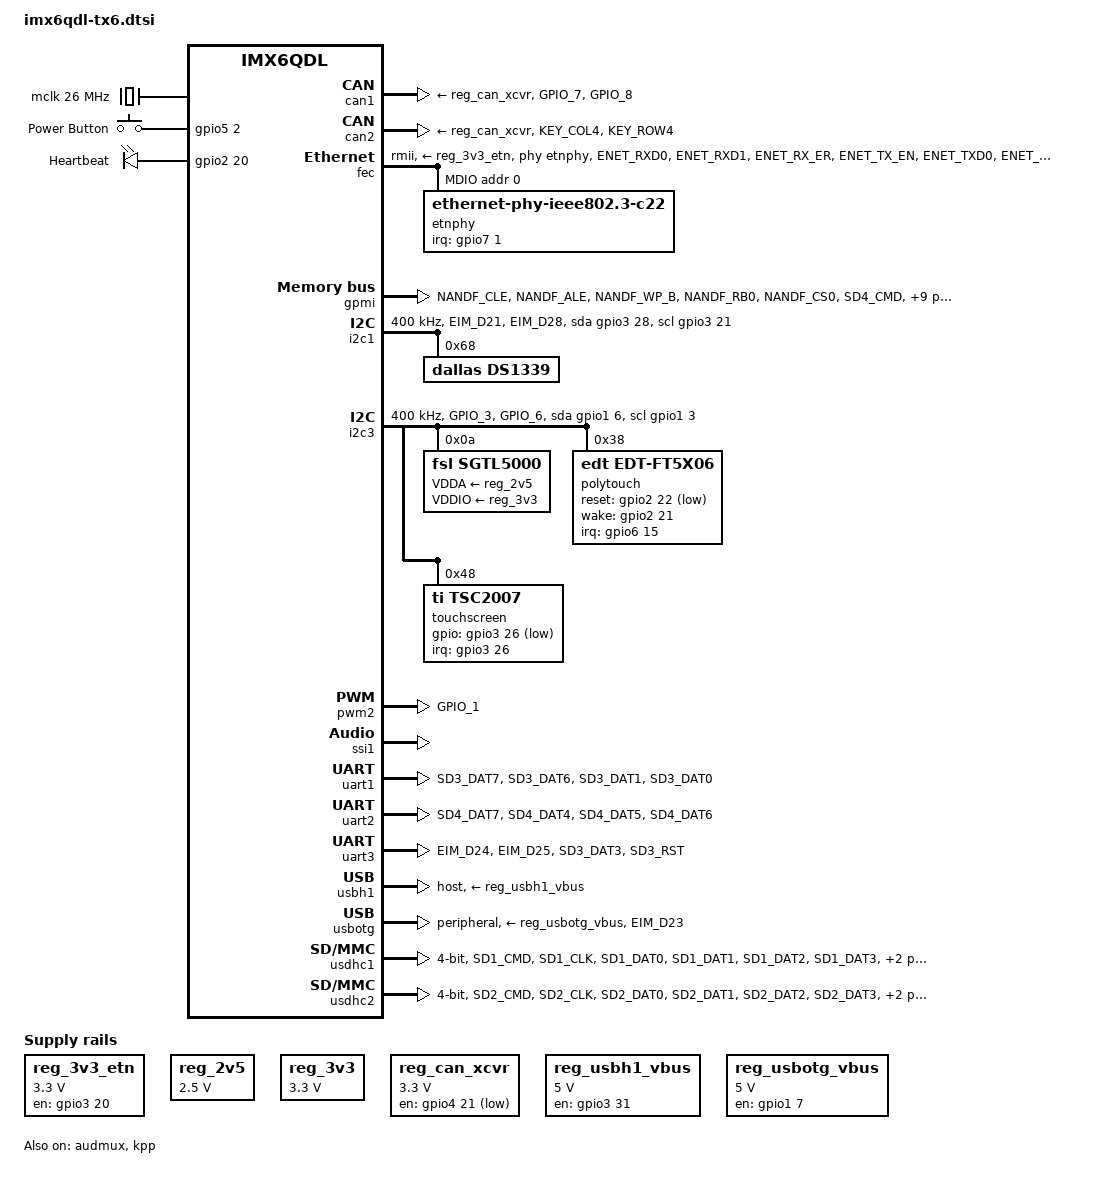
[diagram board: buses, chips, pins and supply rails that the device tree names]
/*
 * Copyright 2014-2017 Lothar Waßmann <LW@KARO-electronics.de>
 *
 * This file is dual-licensed: you can use it either under the terms
 * of the GPL or the X11 license, at your option. Note that this dual
 * licensing only applies to this file, and not this project as a
 * whole.
 *
 *  a) This file is free software; you can redistribute it and/or
 *     modify it under the terms of the GNU General Public License
 *     version 2 as published by the Free Software Foundation.
 *
 *     This file is distributed in the hope that it will be useful,
 *     but WITHOUT ANY WARRANTY; without even the implied warranty of
 *     MERCHANTABILITY or FITNESS FOR A PARTICULAR PURPOSE.  See the
 *     GNU General Public License for more details.
 *
 * Or, alternatively,
 *
 *  b) Permission is hereby granted, free of charge, to any person
 *     obtaining a copy of this software and associated documentation
 *     files (the "Software"), to deal in the Software without
 *     restriction, including without limitation the rights to use,
 *     copy, modify, merge, publish, distribute, sublicense, and/or
 *     sell copies of the Software, and to permit persons to whom the
 *     Software is furnished to do so, subject to the following
 *     conditions:
 *
 *     The above copyright notice and this permission notice shall be
 *     included in all copies or substantial portions of the Software.
 *
 *     THE SOFTWARE IS PROVIDED "AS IS", WITHOUT WARRANTY OF ANY KIND,
 *     EXPRESS OR IMPLIED, INCLUDING BUT NOT LIMITED TO THE WARRANTIES
 *     OF MERCHANTABILITY, FITNESS FOR A PARTICULAR PURPOSE AND
 *     NONINFRINGEMENT. IN NO EVENT SHALL THE AUTHORS OR COPYRIGHT
 *     HOLDERS BE LIABLE FOR ANY CLAIM, DAMAGES OR OTHER LIABILITY,
 *     WHETHER IN AN ACTION OF CONTRACT, TORT OR OTHERWISE, ARISING
 *     FROM, OUT OF OR IN CONNECTION WITH THE SOFTWARE OR THE USE OR
 *     OTHER DEALINGS IN THE SOFTWARE.
 */

#include <dt-bindings/gpio/gpio.h>
#include <dt-bindings/input/input.h>
#include <dt-bindings/interrupt-controller/irq.h>
#include <dt-bindings/pwm/pwm.h>
#include <dt-bindings/sound/fsl-imx-audmux.h>

/ {
	aliases {
		can0 = &can2;
		can1 = &can1;
		ethernet0 = &fec;
		lcdif-23bit-pins-a = &pinctrl_disp0_1;
		lcdif-24bit-pins-a = &pinctrl_disp0_2;
		pwm0 = &pwm1;
		pwm1 = &pwm2;
		reg-can-xcvr = &reg_can_xcvr;
		stk5led = &user_led;
		usbotg = &usbotg;
		sdhc0 = &usdhc1;
		sdhc1 = &usdhc2;
	};

	memory@10000000 {
		device_type = "memory";
		reg = <0x10000000 0>; /* will be filled by U-Boot */
	};

	clocks {
		#address-cells = <1>;
		#size-cells = <0>;

		mclk: clock@0 {
			compatible = "fixed-clock";
			reg = <0>;
			#clock-cells = <0>;
			clock-frequency = <26000000>;
		};
	};

	gpio-keys {
		compatible = "gpio-keys";

		power {
			label = "Power Button";
			gpios = <&gpio5 2 GPIO_ACTIVE_HIGH>;
			linux,code = <KEY_POWER>;
			wakeup-source;
		};
	};

	leds {
		compatible = "gpio-leds";

		user_led: user {
			label = "Heartbeat";
			pinctrl-names = "default";
			pinctrl-0 = <&pinctrl_user_led>;
			gpios = <&gpio2 20 GPIO_ACTIVE_HIGH>;
			linux,default-trigger = "heartbeat";
		};
	};

	reg_3v3_etn: regulator-3v3-etn {
		compatible = "regulator-fixed";
		regulator-name = "3V3_ETN";
		regulator-min-microvolt = <3300000>;
		regulator-max-microvolt = <3300000>;
		pinctrl-names = "default";
		pinctrl-0 = <&pinctrl_etnphy_power>;
		gpio = <&gpio3 20 GPIO_ACTIVE_HIGH>;
		enable-active-high;
	};

	reg_2v5: regulator-2v5 {
		compatible = "regulator-fixed";
		regulator-name = "2V5";
		regulator-min-microvolt = <2500000>;
		regulator-max-microvolt = <2500000>;
		regulator-always-on;
	};

	reg_3v3: regulator-3v3 {
		compatible = "regulator-fixed";
		regulator-name = "3V3";
		regulator-min-microvolt = <3300000>;
		regulator-max-microvolt = <3300000>;
		regulator-always-on;
	};

	reg_can_xcvr: regulator-can-xcvr {
		compatible = "regulator-fixed";
		regulator-name = "CAN XCVR";
		regulator-min-microvolt = <3300000>;
		regulator-max-microvolt = <3300000>;
		pinctrl-names = "default";
		pinctrl-0 = <&pinctrl_flexcan_xcvr>;
		gpio = <&gpio4 21 GPIO_ACTIVE_LOW>;
	};

	reg_lcd0_pwr: regulator-lcd0-pwr {
		compatible = "regulator-fixed";
		regulator-name = "LCD0 POWER";
		regulator-min-microvolt = <3300000>;
		regulator-max-microvolt = <3300000>;
		pinctrl-names = "default";
		pinctrl-0 = <&pinctrl_lcd0_pwr>;
		gpio = <&gpio3 29 GPIO_ACTIVE_HIGH>;
		enable-active-high;
		status = "disabled";
	};

	reg_lcd1_pwr: regulator-lcd1-pwr {
		compatible = "regulator-fixed";
		regulator-name = "LCD1 POWER";
		regulator-min-microvolt = <3300000>;
		regulator-max-microvolt = <3300000>;
		pinctrl-names = "default";
		pinctrl-0 = <&pinctrl_lcd1_pwr>;
		gpio = <&gpio2 31 GPIO_ACTIVE_HIGH>;
		enable-active-high;
		status = "disabled";
	};

	reg_usbh1_vbus: regulator-usbh1-vbus {
		compatible = "regulator-fixed";
		regulator-name = "usbh1_vbus";
		regulator-min-microvolt = <5000000>;
		regulator-max-microvolt = <5000000>;
		pinctrl-names = "default";
		pinctrl-0 = <&pinctrl_usbh1_vbus>;
		gpio = <&gpio3 31 GPIO_ACTIVE_HIGH>;
		enable-active-high;
	};

	reg_usbotg_vbus: regulator-usbotg-vbus {
		compatible = "regulator-fixed";
		regulator-name = "usbotg_vbus";
		regulator-min-microvolt = <5000000>;
		regulator-max-microvolt = <5000000>;
		pinctrl-names = "default";
		pinctrl-0 = <&pinctrl_usbotg_vbus>;
		gpio = <&gpio1 7 GPIO_ACTIVE_HIGH>;
		enable-active-high;
	};

	sound {
		compatible = "karo,imx6qdl-tx6-sgtl5000",
			     "simple-audio-card";
		simple-audio-card,name = "imx6qdl-tx6-sgtl5000-audio";
		pinctrl-names = "default";
		pinctrl-0 = <&pinctrl_audmux>;
		simple-audio-card,format = "i2s";
		simple-audio-card,bitclock-master = <&codec_dai>;
		simple-audio-card,frame-master = <&codec_dai>;
		simple-audio-card,widgets =
			"Microphone", "Mic Jack",
			"Line", "Line In",
			"Line", "Line Out",
			"Headphone", "Headphone Jack";
		simple-audio-card,routing =
			"MIC_IN", "Mic Jack",
			"Mic Jack", "Mic Bias",
			"Headphone Jack", "HP_OUT";

		cpu_dai: simple-audio-card,cpu {
			sound-dai = <&ssi1>;
		};

		codec_dai: simple-audio-card,codec {
			sound-dai = <&sgtl5000>;
		};
	};
};

&audmux {
	status = "okay";

	ssi1 {
		fsl,audmux-port = <0>;
		fsl,port-config = <
			(IMX_AUDMUX_V2_PTCR_SYN |
			IMX_AUDMUX_V2_PTCR_TFSEL(4) |
			IMX_AUDMUX_V2_PTCR_TCSEL(4) |
			IMX_AUDMUX_V2_PTCR_TFSDIR |
			IMX_AUDMUX_V2_PTCR_TCLKDIR)
			IMX_AUDMUX_V2_PDCR_RXDSEL(4)
		>;
	};

	pins5 {
		fsl,audmux-port = <4>;
		fsl,port-config = <
			IMX_AUDMUX_V2_PTCR_SYN
			IMX_AUDMUX_V2_PDCR_RXDSEL(0)
		>;
	};
};

&can1 {
	pinctrl-names = "default";
	pinctrl-0 = <&pinctrl_flexcan1>;
	xceiver-supply = <&reg_can_xcvr>;
	status = "okay";
};

&can2 {
	pinctrl-names = "default";
	pinctrl-0 = <&pinctrl_flexcan2>;
	xceiver-supply = <&reg_can_xcvr>;
	status = "okay";
};

&ecspi1 {
	pinctrl-names = "default";
	pinctrl-0 = <&pinctrl_ecspi1>;
	cs-gpios = <
		&gpio2 30 GPIO_ACTIVE_HIGH
		&gpio3 19 GPIO_ACTIVE_HIGH
	>;
	status = "disabled";

	spidev0: spi@0 {
		compatible = "spidev";
		reg = <0>;
		spi-max-frequency = <54000000>;
	};

	spidev1: spi@1 {
		compatible = "spidev";
		reg = <1>;
		spi-max-frequency = <54000000>;
	};
};

&fec {
	pinctrl-names = "default";
	pinctrl-0 = <&pinctrl_enet &pinctrl_enet_mdio &pinctrl_etnphy_rst>;
	clocks = <&clks IMX6QDL_CLK_ENET>,
		 <&clks IMX6QDL_CLK_ENET>,
		 <&clks IMX6QDL_CLK_ENET_REF>,
		 <&clks IMX6QDL_CLK_ENET_REF>;
	clock-names = "ipg", "ahb", "ptp", "enet_out";
	phy-mode = "rmii";
	phy-reset-gpios = <&gpio7 6 GPIO_ACTIVE_LOW>;
	phy-reset-post-delay = <10>;
	phy-handle = <&etnphy>;
	phy-supply = <&reg_3v3_etn>;
	status = "okay";

	mdio {
		#address-cells = <1>;
		#size-cells = <0>;

		etnphy: ethernet-phy@0 {
			compatible = "ethernet-phy-ieee802.3-c22";
			reg = <0>;
			pinctrl-names = "default";
			pinctrl-0 = <&pinctrl_etnphy_int>;
			interrupt-parent = <&gpio7>;
			interrupts = <1 IRQ_TYPE_EDGE_FALLING>;
		};
	};
};

&gpmi {
	pinctrl-names = "default";
	pinctrl-0 = <&pinctrl_gpmi_nand>;
	nand-on-flash-bbt;
	fsl,no-blockmark-swap;
	status = "okay";
};

&i2c1 {
	pinctrl-names = "default", "gpio";
	pinctrl-0 = <&pinctrl_i2c1>;
	pinctrl-1 = <&pinctrl_i2c1_gpio>;
	scl-gpios = <&gpio3 21 GPIO_ACTIVE_HIGH>;
	sda-gpios = <&gpio3 28 GPIO_ACTIVE_HIGH>;
	clock-frequency = <400000>;
	status = "okay";

	ds1339: rtc@68 {
		compatible = "dallas,ds1339";
		reg = <0x68>;
		trickle-resistor-ohms = <250>;
		trickle-diode-disable;
	};
};

&i2c3 {
	pinctrl-names = "default", "gpio";
	pinctrl-0 = <&pinctrl_i2c3>;
	pinctrl-1 = <&pinctrl_i2c3_gpio>;
	scl-gpios = <&gpio1 3 GPIO_ACTIVE_HIGH>;
	sda-gpios = <&gpio1 6 GPIO_ACTIVE_HIGH>;
	clock-frequency = <400000>;
	status = "okay";

	sgtl5000: sgtl5000@a {
		compatible = "fsl,sgtl5000";
		#sound-dai-cells = <0>;
		reg = <0x0a>;
		VDDA-supply = <&reg_2v5>;
		VDDIO-supply = <&reg_3v3>;
		clocks = <&mclk>;
	};

	polytouch: edt-ft5x06@38 {
		compatible = "edt,edt-ft5x06";
		reg = <0x38>;
		pinctrl-names = "default";
		pinctrl-0 = <&pinctrl_edt_ft5x06>;
		interrupt-parent = <&gpio6>;
		interrupts = <15 IRQ_TYPE_EDGE_FALLING>;
		reset-gpios = <&gpio2 22 GPIO_ACTIVE_LOW>;
		wake-gpios = <&gpio2 21 GPIO_ACTIVE_HIGH>;
		wakeup-source;
	};

	touchscreen: tsc2007@48 {
		compatible = "ti,tsc2007";
		reg = <0x48>;
		pinctrl-names = "default";
		pinctrl-0 = <&pinctrl_tsc2007>;
		interrupt-parent = <&gpio3>;
		interrupts = <26 0>;
		gpios = <&gpio3 26 GPIO_ACTIVE_LOW>;
		ti,x-plate-ohms = <660>;
		wakeup-source;
	};
};

&iomuxc {
	pinctrl-names = "default";
	pinctrl-0 = <&pinctrl_hog>;

	pinctrl_hog: hoggrp {
		fsl,pins = <
			MX6QDL_PAD_EIM_A25__GPIO5_IO02		0x1b0b1 /* PWR BTN */
		>;
	};

	pinctrl_audmux: audmuxgrp {
		fsl,pins = <
			MX6QDL_PAD_KEY_ROW1__AUD5_RXD		0x130b0 /* SSI1_RXD */
			MX6QDL_PAD_KEY_ROW0__AUD5_TXD		0x110b0 /* SSI1_TXD */
			MX6QDL_PAD_KEY_COL0__AUD5_TXC		0x130b0 /* SSI1_CLK */
			MX6QDL_PAD_KEY_COL1__AUD5_TXFS		0x130b0 /* SSI1_FS */
		>;
	};

	pinctrl_disp0_1: disp0grp-1 {
		fsl,pins = <
			MX6QDL_PAD_DI0_DISP_CLK__IPU1_DI0_DISP_CLK 0x10
			MX6QDL_PAD_DI0_PIN15__IPU1_DI0_PIN15       0x10
			MX6QDL_PAD_DI0_PIN2__IPU1_DI0_PIN02        0x10
			MX6QDL_PAD_DI0_PIN3__IPU1_DI0_PIN03        0x10
			/* PAD DISP0_DAT0 is used for the Flexcan transceiver control */
			MX6QDL_PAD_DISP0_DAT1__IPU1_DISP0_DATA01   0x10
			MX6QDL_PAD_DISP0_DAT2__IPU1_DISP0_DATA02   0x10
			MX6QDL_PAD_DISP0_DAT3__IPU1_DISP0_DATA03   0x10
			MX6QDL_PAD_DISP0_DAT4__IPU1_DISP0_DATA04   0x10
			MX6QDL_PAD_DISP0_DAT5__IPU1_DISP0_DATA05   0x10
			MX6QDL_PAD_DISP0_DAT6__IPU1_DISP0_DATA06   0x10
			MX6QDL_PAD_DISP0_DAT7__IPU1_DISP0_DATA07   0x10
			MX6QDL_PAD_DISP0_DAT8__IPU1_DISP0_DATA08   0x10
			MX6QDL_PAD_DISP0_DAT9__IPU1_DISP0_DATA09   0x10
			MX6QDL_PAD_DISP0_DAT10__IPU1_DISP0_DATA10  0x10
			MX6QDL_PAD_DISP0_DAT11__IPU1_DISP0_DATA11  0x10
			MX6QDL_PAD_DISP0_DAT12__IPU1_DISP0_DATA12  0x10
			MX6QDL_PAD_DISP0_DAT13__IPU1_DISP0_DATA13  0x10
			MX6QDL_PAD_DISP0_DAT14__IPU1_DISP0_DATA14  0x10
			MX6QDL_PAD_DISP0_DAT15__IPU1_DISP0_DATA15  0x10
			MX6QDL_PAD_DISP0_DAT16__IPU1_DISP0_DATA16  0x10
			MX6QDL_PAD_DISP0_DAT17__IPU1_DISP0_DATA17  0x10
			MX6QDL_PAD_DISP0_DAT18__IPU1_DISP0_DATA18  0x10
			MX6QDL_PAD_DISP0_DAT19__IPU1_DISP0_DATA19  0x10
			MX6QDL_PAD_DISP0_DAT20__IPU1_DISP0_DATA20  0x10
			MX6QDL_PAD_DISP0_DAT21__IPU1_DISP0_DATA21  0x10
			MX6QDL_PAD_DISP0_DAT22__IPU1_DISP0_DATA22  0x10
			MX6QDL_PAD_DISP0_DAT23__IPU1_DISP0_DATA23  0x10
		>;
	};

	pinctrl_disp0_2: disp0grp-2 {
		fsl,pins = <
			MX6QDL_PAD_DI0_DISP_CLK__IPU1_DI0_DISP_CLK 0x10
			MX6QDL_PAD_DI0_PIN15__IPU1_DI0_PIN15       0x10
			MX6QDL_PAD_DI0_PIN2__IPU1_DI0_PIN02        0x10
			MX6QDL_PAD_DI0_PIN3__IPU1_DI0_PIN03        0x10
			MX6QDL_PAD_DISP0_DAT0__IPU1_DISP0_DATA00   0x10
			MX6QDL_PAD_DISP0_DAT1__IPU1_DISP0_DATA01   0x10
			MX6QDL_PAD_DISP0_DAT2__IPU1_DISP0_DATA02   0x10
			MX6QDL_PAD_DISP0_DAT3__IPU1_DISP0_DATA03   0x10
			MX6QDL_PAD_DISP0_DAT4__IPU1_DISP0_DATA04   0x10
			MX6QDL_PAD_DISP0_DAT5__IPU1_DISP0_DATA05   0x10
			MX6QDL_PAD_DISP0_DAT6__IPU1_DISP0_DATA06   0x10
			MX6QDL_PAD_DISP0_DAT7__IPU1_DISP0_DATA07   0x10
			MX6QDL_PAD_DISP0_DAT8__IPU1_DISP0_DATA08   0x10
			MX6QDL_PAD_DISP0_DAT9__IPU1_DISP0_DATA09   0x10
			MX6QDL_PAD_DISP0_DAT10__IPU1_DISP0_DATA10  0x10
			MX6QDL_PAD_DISP0_DAT11__IPU1_DISP0_DATA11  0x10
			MX6QDL_PAD_DISP0_DAT12__IPU1_DISP0_DATA12  0x10
			MX6QDL_PAD_DISP0_DAT13__IPU1_DISP0_DATA13  0x10
			MX6QDL_PAD_DISP0_DAT14__IPU1_DISP0_DATA14  0x10
			MX6QDL_PAD_DISP0_DAT15__IPU1_DISP0_DATA15  0x10
			MX6QDL_PAD_DISP0_DAT16__IPU1_DISP0_DATA16  0x10
			MX6QDL_PAD_DISP0_DAT17__IPU1_DISP0_DATA17  0x10
			MX6QDL_PAD_DISP0_DAT18__IPU1_DISP0_DATA18  0x10
			MX6QDL_PAD_DISP0_DAT19__IPU1_DISP0_DATA19  0x10
			MX6QDL_PAD_DISP0_DAT20__IPU1_DISP0_DATA20  0x10
			MX6QDL_PAD_DISP0_DAT21__IPU1_DISP0_DATA21  0x10
			MX6QDL_PAD_DISP0_DAT22__IPU1_DISP0_DATA22  0x10
			MX6QDL_PAD_DISP0_DAT23__IPU1_DISP0_DATA23  0x10
		>;
	};

	pinctrl_ecspi1: ecspi1grp {
		fsl,pins = <
			MX6QDL_PAD_EIM_D18__ECSPI1_MOSI		0x0b0b0
			MX6QDL_PAD_EIM_D17__ECSPI1_MISO		0x0b0b0
			MX6QDL_PAD_EIM_D16__ECSPI1_SCLK		0x0b0b0
			MX6QDL_PAD_GPIO_19__ECSPI1_RDY		0x0b0b0
			MX6QDL_PAD_EIM_EB2__GPIO2_IO30		0x0b0b0 /* SPI CS0 */
			MX6QDL_PAD_EIM_D19__GPIO3_IO19		0x0b0b0 /* SPI CS1 */
		>;
	};

	pinctrl_edt_ft5x06: edt-ft5x06grp {
		fsl,pins = <
			MX6QDL_PAD_NANDF_CS2__GPIO6_IO15	0x1b0b0 /* Interrupt */
			MX6QDL_PAD_EIM_A16__GPIO2_IO22		0x1b0b0 /* Reset */
			MX6QDL_PAD_EIM_A17__GPIO2_IO21		0x1b0b0 /* Wake */
		>;
	};

	pinctrl_enet: enetgrp {
		fsl,pins = <
			MX6QDL_PAD_ENET_RXD0__ENET_RX_DATA0	0x1b0b0
			MX6QDL_PAD_ENET_RXD1__ENET_RX_DATA1	0x1b0b0
			MX6QDL_PAD_ENET_RX_ER__ENET_RX_ER	0x1b0b0
			MX6QDL_PAD_ENET_TX_EN__ENET_TX_EN	0x1b0b0
			MX6QDL_PAD_ENET_TXD0__ENET_TX_DATA0	0x1b0b0
			MX6QDL_PAD_ENET_TXD1__ENET_TX_DATA1	0x1b0b0
			MX6QDL_PAD_ENET_CRS_DV__ENET_RX_EN	0x1b0b0
		>;
	};

	pinctrl_enet_mdio: enet-mdiogrp {
		fsl,pins = <
			MX6QDL_PAD_ENET_MDC__ENET_MDC		0x1b0b0
			MX6QDL_PAD_ENET_MDIO__ENET_MDIO		0x1b0b0
		>;
	};

	pinctrl_etnphy_int: etnphy-intgrp {
		fsl,pins = <
			MX6QDL_PAD_SD3_DAT4__GPIO7_IO01		0x1b0b1 /* ETN PHY INT */
		>;
	};

	pinctrl_etnphy_power: etnphy-pwrgrp {
		fsl,pins = <
			MX6QDL_PAD_EIM_D20__GPIO3_IO20		0x1b0b1 /* ETN PHY POWER */
		>;
	};

	pinctrl_etnphy_rst: etnphy-rstgrp {
		fsl,pins = <
			MX6QDL_PAD_SD3_DAT2__GPIO7_IO06		0x1b0b1 /* ETN PHY RESET */
		>;
	};

	pinctrl_flexcan1: flexcan1grp {
		fsl,pins = <
			MX6QDL_PAD_GPIO_7__FLEXCAN1_TX		0x1b0b0
			MX6QDL_PAD_GPIO_8__FLEXCAN1_RX		0x1b0b0
		>;
	};

	pinctrl_flexcan2: flexcan2grp {
		fsl,pins = <
			MX6QDL_PAD_KEY_COL4__FLEXCAN2_TX	0x1b0b0
			MX6QDL_PAD_KEY_ROW4__FLEXCAN2_RX	0x1b0b0
		>;
	};

	pinctrl_flexcan_xcvr: flexcan-xcvrgrp {
		fsl,pins = <
			MX6QDL_PAD_DISP0_DAT0__GPIO4_IO21	0x1b0b0 /* Flexcan XCVR enable */
		>;
	};

	pinctrl_gpmi_nand: gpminandgrp {
		fsl,pins = <
			MX6QDL_PAD_NANDF_CLE__NAND_CLE		0x0b0b1
			MX6QDL_PAD_NANDF_ALE__NAND_ALE		0x0b0b1
			MX6QDL_PAD_NANDF_WP_B__NAND_WP_B	0x0b0b1
			MX6QDL_PAD_NANDF_RB0__NAND_READY_B	0x0b000
			MX6QDL_PAD_NANDF_CS0__NAND_CE0_B	0x0b0b1
			MX6QDL_PAD_SD4_CMD__NAND_RE_B		0x0b0b1
			MX6QDL_PAD_SD4_CLK__NAND_WE_B		0x0b0b1
			MX6QDL_PAD_NANDF_D0__NAND_DATA00	0x0b0b1
			MX6QDL_PAD_NANDF_D1__NAND_DATA01	0x0b0b1
			MX6QDL_PAD_NANDF_D2__NAND_DATA02	0x0b0b1
			MX6QDL_PAD_NANDF_D3__NAND_DATA03	0x0b0b1
			MX6QDL_PAD_NANDF_D4__NAND_DATA04	0x0b0b1
			MX6QDL_PAD_NANDF_D5__NAND_DATA05	0x0b0b1
			MX6QDL_PAD_NANDF_D6__NAND_DATA06	0x0b0b1
			MX6QDL_PAD_NANDF_D7__NAND_DATA07	0x0b0b1
		>;
	};

	pinctrl_i2c1: i2c1grp {
		fsl,pins = <
			MX6QDL_PAD_EIM_D21__I2C1_SCL		0x4001b8b1
			MX6QDL_PAD_EIM_D28__I2C1_SDA		0x4001b8b1
		>;
	};

	pinctrl_i2c1_gpio: i2c1-gpiogrp {
		fsl,pins = <
			MX6QDL_PAD_EIM_D21__GPIO3_IO21		0x4001b8b1
			MX6QDL_PAD_EIM_D28__GPIO3_IO28		0x4001b8b1
		>;
	};

	pinctrl_i2c3: i2c3grp {
		fsl,pins = <
			MX6QDL_PAD_GPIO_3__I2C3_SCL		0x4001b8b1
			MX6QDL_PAD_GPIO_6__I2C3_SDA		0x4001b8b1
		>;
	};

	pinctrl_i2c3_gpio: i2c3-gpiogrp {
		fsl,pins = <
			MX6QDL_PAD_GPIO_3__GPIO1_IO03		0x4001b8b1
			MX6QDL_PAD_GPIO_6__GPIO1_IO06		0x4001b8b1
		>;
	};

	pinctrl_kpp: kppgrp {
		fsl,pins = <
			MX6QDL_PAD_GPIO_9__KEY_COL6		0x1b0b1
			MX6QDL_PAD_GPIO_4__KEY_COL7		0x1b0b1
			MX6QDL_PAD_KEY_COL2__KEY_COL2		0x1b0b1
			MX6QDL_PAD_KEY_COL3__KEY_COL3		0x1b0b1
			MX6QDL_PAD_GPIO_2__KEY_ROW6		0x1b0b1
			MX6QDL_PAD_GPIO_5__KEY_ROW7		0x1b0b1
			MX6QDL_PAD_KEY_ROW2__KEY_ROW2		0x1b0b1
			MX6QDL_PAD_KEY_ROW3__KEY_ROW3		0x1b0b1
		>;
	};

	pinctrl_lcd0_pwr: lcd0-pwrgrp {
		fsl,pins = <
			MX6QDL_PAD_EIM_D29__GPIO3_IO29		0x1b0b1 /* LCD Reset */
		>;
	};

	pinctrl_lcd1_pwr: lcd-pwrgrp {
		fsl,pins = <
			MX6QDL_PAD_EIM_EB3__GPIO2_IO31		0x1b0b1 /* LCD Power Enable */
		>;
	};

	pinctrl_pwm1: pwm1grp {
		fsl,pins = <
			MX6QDL_PAD_GPIO_9__PWM1_OUT		0x1b0b1
		>;
	};

	pinctrl_pwm2: pwm2grp {
		fsl,pins = <
			MX6QDL_PAD_GPIO_1__PWM2_OUT		0x1b0b1
		>;
	};

	pinctrl_tsc2007: tsc2007grp {
		fsl,pins = <
			MX6QDL_PAD_EIM_D26__GPIO3_IO26		0x1b0b0 /* Interrupt */
		>;
	};

	pinctrl_uart1: uart1grp {
		fsl,pins = <
			MX6QDL_PAD_SD3_DAT7__UART1_TX_DATA	0x1b0b1
			MX6QDL_PAD_SD3_DAT6__UART1_RX_DATA	0x1b0b1
		>;
	};

	pinctrl_uart1_rtscts: uart1_rtsctsgrp {
		fsl,pins = <
			MX6QDL_PAD_SD3_DAT1__UART1_RTS_B	0x1b0b1
			MX6QDL_PAD_SD3_DAT0__UART1_CTS_B	0x1b0b1
		>;
	};

	pinctrl_uart2: uart2grp {
		fsl,pins = <
			MX6QDL_PAD_SD4_DAT7__UART2_TX_DATA	0x1b0b1
			MX6QDL_PAD_SD4_DAT4__UART2_RX_DATA	0x1b0b1
		>;
	};

	pinctrl_uart2_rtscts: uart2_rtsctsgrp {
		fsl,pins = <
			MX6QDL_PAD_SD4_DAT5__UART2_RTS_B	0x1b0b1
			MX6QDL_PAD_SD4_DAT6__UART2_CTS_B	0x1b0b1
		>;
	};

	pinctrl_uart3: uart3grp {
		fsl,pins = <
			MX6QDL_PAD_EIM_D24__UART3_TX_DATA	0x1b0b1
			MX6QDL_PAD_EIM_D25__UART3_RX_DATA	0x1b0b1
		>;
	};

	pinctrl_uart3_rtscts: uart3_rtsctsgrp {
		fsl,pins = <
			MX6QDL_PAD_SD3_DAT3__UART3_CTS_B	0x1b0b1
			MX6QDL_PAD_SD3_RST__UART3_RTS_B		0x1b0b1
		>;
	};

	pinctrl_usbh1_vbus: usbh1-vbusgrp {
		fsl,pins = <
			MX6QDL_PAD_EIM_D31__GPIO3_IO31		0x1b0b0 /* USBH1_VBUSEN */
		>;
	};

	pinctrl_usbotg: usbotggrp {
		fsl,pins = <
			MX6QDL_PAD_EIM_D23__GPIO3_IO23		0x17059
		>;
	};

	pinctrl_usbotg_vbus: usbotg-vbusgrp {
		fsl,pins = <
			MX6QDL_PAD_GPIO_7__GPIO1_IO07		0x1b0b0 /* USBOTG_VBUSEN */
		>;
	};

	pinctrl_usdhc1: usdhc1grp {
		fsl,pins = <
			MX6QDL_PAD_SD1_CMD__SD1_CMD		0x070b1
			MX6QDL_PAD_SD1_CLK__SD1_CLK		0x070b1
			MX6QDL_PAD_SD1_DAT0__SD1_DATA0		0x070b1
			MX6QDL_PAD_SD1_DAT1__SD1_DATA1		0x070b1
			MX6QDL_PAD_SD1_DAT2__SD1_DATA2		0x070b1
			MX6QDL_PAD_SD1_DAT3__SD1_DATA3		0x070b1
			MX6QDL_PAD_SD3_CMD__GPIO7_IO02		0x170b0 /* SD1 CD */
		>;
	};

	pinctrl_usdhc2: usdhc2grp {
		fsl,pins = <
			MX6QDL_PAD_SD2_CMD__SD2_CMD		0x070b1
			MX6QDL_PAD_SD2_CLK__SD2_CLK		0x070b1
			MX6QDL_PAD_SD2_DAT0__SD2_DATA0		0x070b1
			MX6QDL_PAD_SD2_DAT1__SD2_DATA1		0x070b1
			MX6QDL_PAD_SD2_DAT2__SD2_DATA2		0x070b1
			MX6QDL_PAD_SD2_DAT3__SD2_DATA3		0x070b1
			MX6QDL_PAD_SD3_CLK__GPIO7_IO03		0x170b0 /* SD2 CD */
		>;
	};

	pinctrl_user_led: user-ledgrp {
		fsl,pins = <
			MX6QDL_PAD_EIM_A18__GPIO2_IO20		0x1b0b1 /* LED */
		>;
	};
};

&kpp {
	pinctrl-names = "default";
	pinctrl-0 = <&pinctrl_kpp>;
	/* sample keymap */
	/* row/col 0,1 are mapped to KPP row/col 6,7 */
	linux,keymap = <
		MATRIX_KEY(6, 6, KEY_POWER) /* 0x06060074 */
		MATRIX_KEY(6, 7, KEY_KP0) /* 0x06070052 */
		MATRIX_KEY(6, 2, KEY_KP1) /* 0x0602004f */
		MATRIX_KEY(6, 3, KEY_KP2) /* 0x06030050 */
		MATRIX_KEY(7, 6, KEY_KP3) /* 0x07060051 */
		MATRIX_KEY(7, 7, KEY_KP4) /* 0x0707004b */
		MATRIX_KEY(7, 2, KEY_KP5) /* 0x0702004c */
		MATRIX_KEY(7, 3, KEY_KP6) /* 0x0703004d */
		MATRIX_KEY(2, 6, KEY_KP7) /* 0x02060047 */
		MATRIX_KEY(2, 7, KEY_KP8) /* 0x02070048 */
		MATRIX_KEY(2, 2, KEY_KP9) /* 0x02020049 */
	>;
	status = "okay";
};

&pwm1 {
	pinctrl-names = "default";
	pinctrl-0 = <&pinctrl_pwm1>;
	#pwm-cells = <3>;
	status = "disabled";
};

&pwm2 {
	pinctrl-names = "default";
	pinctrl-0 = <&pinctrl_pwm2>;
	#pwm-cells = <3>;
	status = "okay";
};

&ssi1 {
	status = "okay";
};

&uart1 {
	pinctrl-names = "default";
	pinctrl-0 = <&pinctrl_uart1 &pinctrl_uart1_rtscts>;
	uart-has-rtscts;
	status = "okay";
};

&uart2 {
	pinctrl-names = "default";
	pinctrl-0 = <&pinctrl_uart2 &pinctrl_uart2_rtscts>;
	uart-has-rtscts;
	status = "okay";
};

&uart3 {
	pinctrl-names = "default";
	pinctrl-0 = <&pinctrl_uart3 &pinctrl_uart3_rtscts>;
	uart-has-rtscts;
	status = "okay";
};

&usbh1 {
	vbus-supply = <&reg_usbh1_vbus>;
	dr_mode = "host";
	disable-over-current;
	status = "okay";
};

&usbotg {
	vbus-supply = <&reg_usbotg_vbus>;
	pinctrl-names = "default";
	pinctrl-0 = <&pinctrl_usbotg>;
	dr_mode = "peripheral";
	disable-over-current;
	status = "okay";
};

&usdhc1 {
	pinctrl-names = "default";
	pinctrl-0 = <&pinctrl_usdhc1>;
	bus-width = <4>;
	no-1-8-v;
	cd-gpios = <&gpio7 2 GPIO_ACTIVE_LOW>;
	fsl,wp-controller;
	status = "okay";
};

&usdhc2 {
	pinctrl-names = "default";
	pinctrl-0 = <&pinctrl_usdhc2>;
	bus-width = <4>;
	no-1-8-v;
	cd-gpios = <&gpio7 3 GPIO_ACTIVE_LOW>;
	fsl,wp-controller;
	status = "okay";
};
